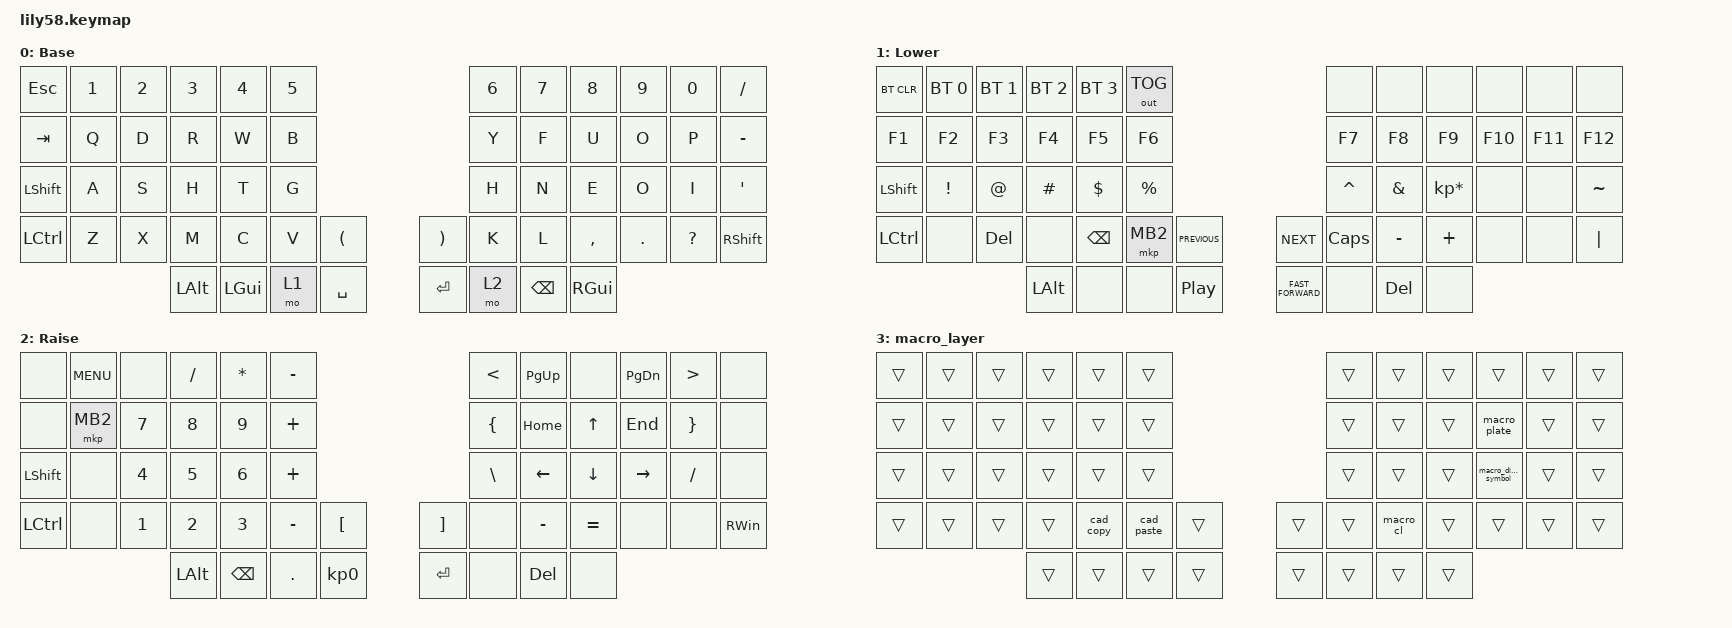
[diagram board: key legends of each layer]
/*
 * Copyright (c) 2020 The ZMK Contributors
 *
 * SPDX-License-Identifier: MIT
 */

#include <dt-bindings/zmk/mouse.h>
#include <behaviors.dtsi>
#include <dt-bindings/zmk/bt.h>
#include <dt-bindings/zmk/keys.h>
#include <dt-bindings/zmk/outputs.h>
#include <dt-bindings/zmk/pointing.h>

/ {
    macros {
        macro_spotify_skip: spotify_skip {
            compatible = "zmk,behavior-macro";
            #binding-cells = <0>;
            bindings =
                <&macro_press>,
                <&kp LEFT_SHIFT>,
                <&macro_tap>,
                <&kp RIGHT>,
                <&macro_release>,
                <&kp RIGHT>;

            label = "SPOTIFY_SKIP";
        };

        macro_diameter_symbol: diameter_symbol {
            compatible = "zmk,behavior-macro";
            #binding-cells = <0>;
            bindings =
                <&macro_press>,
                <&kp LEFT_ALT>,
                <&macro_tap>,
                <&kp KP_NUMBER_0 &kp KP_NUMBER_2 &kp KP_NUMBER_1 &kp KP_NUMBER_6>,
                <&macro_release>,
                <&kp LEFT_ALT>;

            label = "Ø";
        };

        macro_plate: macro_plate {
            compatible = "zmk,behavior-macro";
            #binding-cells = <0>;
            bindings =
                <&macro_press>,
                <&kp LEFT_ALT>,
                <&macro_tap>,
                <&kp KP_NUMBER_8 &kp KP_NUMBER_5 &kp KP_NUMBER_2 &kp KP_NUMBER_2>,
                <&macro_release>,
                <&kp LEFT_ALT>;

            label = "MACRO_PLATE";
        };

        cad_copy: cad_copy {
            compatible = "zmk,behavior-macro";
            #binding-cells = <0>;
            bindings = <&kp C &kp O &kp P &kp Y &kp B &kp A &kp S &kp E &kp RET &kp N0 &kp COMMA &kp N0 &kp COMMA &kp N0 &kp RET>;
            label = "CAD_COPY";
        };

        cad_paste: cad_paste {
            compatible = "zmk,behavior-macro";
            #binding-cells = <0>;
            bindings = <&kp P &kp A &kp S &kp T &kp E &kp C &kp L &kp I &kp P &kp RET &kp N0 &kp COMMA &kp N0 &kp COMMA &kp N0 &kp RET>;
            label = "CAD_PASTE";
        };

        macro_cl: macro_cl {
            compatible = "zmk,behavior-macro";
            #binding-cells = <0>;
            bindings =
                <&macro_press>,
                <&kp LEFT_ALT>,
                <&macro_tap>,
                <&kp KP_NUMBER_2 &kp KP_NUMBER_1 &kp KP_NUMBER_0 &kp KP_NUMBER_4>,
                <&macro_release>,
                <&kp LEFT_ALT>;

            label = "MACRO_CL";
        };
    };

    combos { compatible = "zmk,combos"; };

    keymap {
        compatible = "zmk,keymap";

        default_layer {
            // ------------------------------------------------------------------------------------------------------------
            // |  ESC  |  1  |  2  |  3   |  4   |  5   |                   |  6   |  7    |  8    |  9   |   0   |   `   |
            // |  TAB  |  Q  |  W  |  E   |  R   |  T   |                   |  Y   |  U    |  I    |  O   |   P   |   -   |
            // |  CTRL |  A  |  S  |  D   |  F   |  G   |                   |  H   |  J    |  K    |  L   |   ;   |   '   |
            // | SHIFT |  Z  |  X  |  C   |  V   |  B   |   "["  |  |  "]"  |  N   |  M    |  ,    |  .   |   /   | SHIFT |
            //                     | ALT  | GUI  | LOWER|  SPACE |  | ENTER | RAISE| BSPC  | GUI   |

            display-name = "Base";
            bindings = <
&kp ESC           &kp N1  &kp N2  &kp N3    &kp N4    &kp N5                                                 &kp N6  &kp N7    &kp N8     &kp N9      &kp N0        &kp SLASH
&kp TAB           &kp Q   &kp D   &kp R     &kp W     &kp B                                                  &kp Y   &kp F     &kp U      &kp O       &kp P         &kp MINUS
&kp LEFT_SHIFT    &kp A   &kp S   &kp H     &kp T     &kp G                                                  &kp H   &kp N     &kp E      &kp O       &kp I         &kp SQT
&kp LEFT_CONTROL  &kp Z   &kp X   &kp M     &kp C     &kp V   &kp LEFT_PARENTHESIS    &kp RIGHT_PARENTHESIS  &kp K   &kp L     &kp COMMA  &kp PERIOD  &kp QUESTION  &kp RSHFT
                                  &kp LALT  &kp LGUI  &mo 1   &kp SPACE               &kp RET                &mo 2   &kp BSPC  &kp RGUI
            >;
        };

        lower_layer {
            // ------------------------------------------------------------------------------------------------------------
            // | BTCLR | BT1 | BT2 |  BT3 |  BT4 |  BT5 |                   |      |       |       |      |       |       |
            // |  F1   |  F2 |  F3 |  F4  |  F5  |  F6  |                   |  F7  |  F8   |  F9   |  F10 |  F11  |  F12  |
            // |   `   |  !  |  @  |  #   |  $   |  %   |                   |  ^   |  &    |  *    |  (   |   )   |   ~   |
            // |       |     |     |      |      |      |        |  |       |      |  _    |  +    |  {   |   }   |  "|"  |
            //                     |      |      |      |        |  |       |      |       |       |

            display-name = "Lower";
            bindings = <
&bt BT_CLR        &bt BT_SEL 0  &bt BT_SEL 1  &bt BT_SEL 2  &bt BT_SEL 3   &out OUT_TOG                                          &none      &none       &none            &none    &none    &none
&kp F1            &kp F2        &kp F3        &kp F4        &kp F5         &kp F6                                                &kp F7     &kp F8      &kp F9           &kp F10  &kp F11  &kp F12
&kp LEFT_SHIFT    &kp EXCL      &kp AT        &kp HASH      &kp DOLLAR     &kp PRCNT                                             &kp CARET  &kp AMPS    &kp KP_MULTIPLY  &none    &none    &kp TILDE
&kp LEFT_CONTROL  &none         &kp DELETE    &none         &kp BACKSPACE  &mkp MB2      &kp C_PREVIOUS      &kp C_NEXT          &kp CAPS   &kp MINUS   &kp PLUS         &none    &none    &kp PIPE
                                              &kp LEFT_ALT  &none          &none         &kp C_PLAY_PAUSE    &kp C_FAST_FORWARD  &none      &kp DELETE  &none
            >;
        };

        raise_layer {
            // ------------------------------------------------------------------------------------------------------------
            // |       |     |     |      |      |      |                   |      |       |       |      |       |       |
            // |   `   |  1  |  2  |  3   |  4   |  5   |                   |  6   |   7   |   8   |  9   |   0   |       |
            // |   F1  |  F2 |  F3 |  F4  |  F5  |  F6  |                   |      |   <-  |   v   |  ^   |  ->   |       |
            // |   F7  |  F8 |  F9 |  F10 |  F11 |  F12 |        |  |       |  +   |   -   |   =   |  [   |   ]   |   \   |
            //                     |      |      |      |        |  |       |      |       |       |

            display-name = "Raise";
            bindings = <
&none             &kp K_MENU  &none         &kp SLASH     &kp ASTERISK   &kp MINUS                                          &kp LESS_THAN   &kp PAGE_UP  &none         &kp PAGE_DOWN  &kp GREATER_THAN  &none
&none             &mkp MB2    &kp N7        &kp N8        &kp N9         &kp PLUS                                           &kp LEFT_BRACE  &kp HOME     &kp UP_ARROW  &kp END        &kp RIGHT_BRACE   &none
&kp LEFT_SHIFT    &none       &kp NUMBER_4  &kp N5        &kp NUMBER_6   &kp PLUS                                           &kp BACKSLASH   &kp LEFT     &kp DOWN      &kp RIGHT      &kp SLASH         &none
&kp LEFT_CONTROL  &none       &kp NUMBER_1  &kp NUMBER_2  &kp NUMBER_3   &kp MINUS   &kp LEFT_BRACKET    &kp RIGHT_BRACKET  &none           &kp MINUS    &kp EQUAL     &none          &none             &kp RIGHT_WIN
                                            &kp LEFT_ALT  &kp BACKSPACE  &kp PERIOD  &kp KP_NUMBER_0     &kp ENTER          &none           &kp DELETE   &none
            >;
        };

        macro_layer {
            bindings = <
&trans  &trans  &trans  &trans  &trans     &trans                        &trans  &trans     &trans  &trans                  &trans  &trans
&trans  &trans  &trans  &trans  &trans     &trans                        &trans  &trans     &trans  &macro_plate            &trans  &trans
&trans  &trans  &trans  &trans  &trans     &trans                        &trans  &trans     &trans  &macro_diameter_symbol  &trans  &trans
&trans  &trans  &trans  &trans  &cad_copy  &cad_paste  &trans    &trans  &trans  &macro_cl  &trans  &trans                  &trans  &trans
                        &trans  &trans     &trans      &trans    &trans  &trans  &trans     &trans
            >;
        };
    };

    conditional_layers {
        compatible = "zmk,conditional-layers";

        tri_layer {
            if-layers = <1 2>;
            then-layer = <3>;
        };
    };
};
